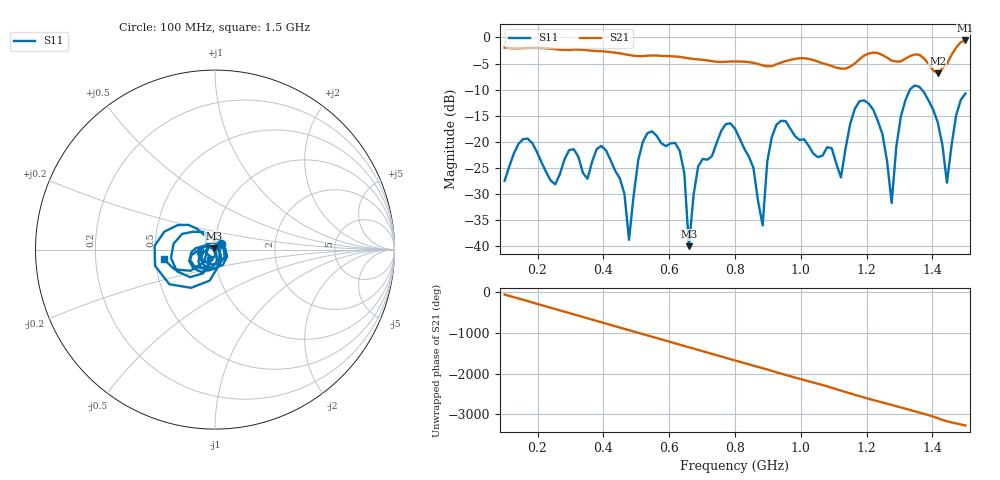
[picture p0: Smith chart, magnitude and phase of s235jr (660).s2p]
! NanoVNA-App
! Date: 2025-09-25 15:09:18
! Start: 100MHz Stop: 1,5GHz Points: 101
! S-Parameter data: F S11 S21 S12 S22
# Hz S RI R 50
!  Frequency  S11_Real  S11_Imag  S21_Real  S21_Imag  S12_Real  S12_Imag  S22_Real  S22_Imag
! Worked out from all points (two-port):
!   101 points, 100 MHz to 1.5 GHz, reference 50 ohm
!   highest |S21| = -0.58 dB at 1.5 GHz (marker M1); lowest = -6.9 dB at 1.416 GHz (marker M2)
!   |S21| within 3 dB of the highest: start of sweep to 514 MHz; 521.2 MHz to 597.3 MHz (76.1 MHz wide, 13.6 % of centre) (the widest 2 of 5)
!   lowest |S11| = -40.0 dB at 660 MHz (marker M3), VSWR 1.02, Z = 49.2 + j0.646 ohm
!   |S11| at or under -10 dB: start of sweep to 1.332 GHz; 1.367 GHz to end of sweep
!   S12 and S22 are empty: the file has one direction only
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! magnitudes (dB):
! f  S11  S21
! 100 MHz  -27.5  -2.0
! 170 MHz  -19.4  -2.0
! 338 MHz  -26.0  -2.4
! 408 MHz  -21.6  -2.7
! 478 MHz  -38.8  -3.4
! 520 MHz  -20.0  -3.6
! 576 MHz  -20.2  -3.5
! 632 MHz  -21.7  -3.7
! 660 MHz  -40.0  -4.0
! 688 MHz  -24.7  -4.2
! 800 MHz  -17.5  -4.6
! 884 MHz  -36.0  -5.4
! 926 MHz  -16.7  -5.1
! 1.038 GHz  -22.3  -4.3
! 1.122 GHz  -26.8  -6.0
! 1.192 GHz  -12.1  -3.5
! 1.248 GHz  -18.5  -3.4
! 1.276 GHz  -31.7  -4.5
! 1.332 GHz  -9.9  -3.6
! 1.416 GHz  -16.3  -6.9
! 1.444 GHz  -27.8  -5.1
! 1.5 GHz  -10.8  -0.6
